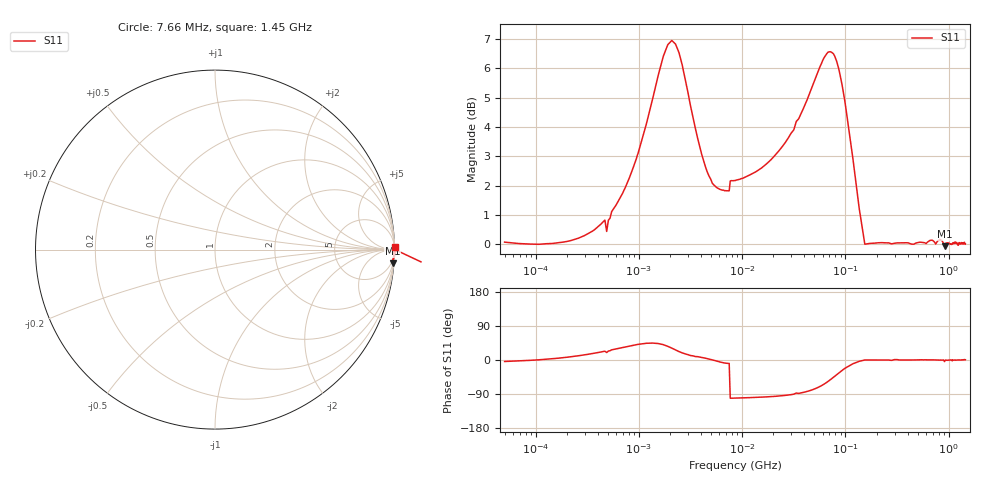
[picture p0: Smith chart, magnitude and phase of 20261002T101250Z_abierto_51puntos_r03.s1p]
! piloto_saltos / abierto_51puntos / r03
# HZ S RI R 50
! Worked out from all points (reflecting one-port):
!   251 points, 50 kHz to 1.45 GHz, reference 50 ohm
!   lowest |S11| = -0.1 dB at 910 MHz (marker M1), VSWR 277.06, Z = 123 - j1.3e+03 ohm
!   phase of S11 starts at -4 deg and turns +5 deg over the sweep
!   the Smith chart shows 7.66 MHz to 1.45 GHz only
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50000  1.006 -0.0697
183000  1.003 0.1054
468000  1.011 0.4329
487000  0.9901 0.3555
658000  1.022 0.6309
1180000  1.151 1.117
1720000  1.59 1.357
2080000  1.901 1.156
2440000  1.964 0.8047
3520000  1.556 0.2481
5140000  1.27 0.00573
7480000  1.218 -0.1937
7660000  -0.2424 -1.259
8560000  -0.2349 -1.263
2.08e7  -0.146 -1.411
3.16e7  -0.00432 -1.567
4.78e7  0.3678 -1.824
6.58e7  1.083 -1.813
7.66e7  1.484 -1.5
8.74e7  1.656 -1.062
9.82e7  1.628 -0.6741
1.18e8  1.379 -0.2422
1.54e8  1.001 0.00102
4.06e8  1.006 0.00242
8.92e8  1.002 2.8e-05
9.1e8  0.9899 -0.0756
9.28e8  1.002 -0.00437
1.45e9  1.001 0.0129
